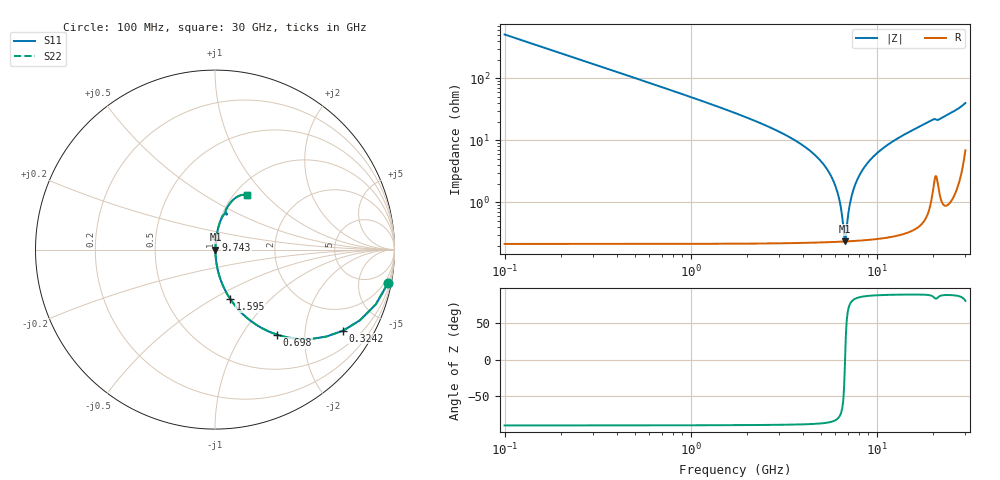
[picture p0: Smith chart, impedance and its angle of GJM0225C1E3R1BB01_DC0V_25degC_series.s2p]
!Murata Part Number: GJM0225C1E3R1BB01
!These Parameters are Measured in Series Mode Connection
!  o--ll--o
!Port1  Port2
!  o------o
!Operation Temp=25[degC], DC Bias Voltage=0[V]
!Freq. Start=100[MHz] Stop=30[GHz], 401[Steps]
!Data Generated on Feb 1, 2023
# Hz S RI R 50
!Freq.(Hz) S11(Real) S11(Imag) S21(Real) S21(Imag) S12(Real) S12(Imag) S22(Real) S22(Imag)
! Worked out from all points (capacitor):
!   401 points, 100 MHz to 30 GHz, reference 50 ohm
!   read as one part in series: C = 3.1 pF near 249.5 MHz
!   lowest |Z| = 235 mohm at 6.753 GHz (marker M1)
!   series resonance near 6.765 GHz, so ESL is about 180 pH
!   S11 on the Smith chart (normalised r, x): 100 MHz: 1, -10; 324.2 MHz: 1.00, -3.16; 698 MHz: 1.00, -1.46; 1.595 GHz: 1.00, -0.61; 9.743 GHz: 1.01, +0.11; 30 GHz: 1.14, +0.79
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1e8  0.9634 -0.1877  0.0366 0.1877  0.0366 0.1877  0.9634 -0.1877
3.2425e8  0.7137 -0.4514  0.2863 0.4514  0.2863 0.4514  0.7137 -0.4514
6.98e8  0.3467 -0.4744  0.6533 0.4744  0.6533 0.4744  0.3467 -0.4744
1.07175e9  0.1802 -0.3821  0.8198 0.3821  0.8198 0.3821  0.1802 -0.3821
1.595e9  0.0862 -0.2772  0.9138 0.2772  0.9138 0.2772  0.0862 -0.2772
2.9405e9  0.0217 -0.1383  0.9783 0.1383  0.9783 0.1383  0.0217 -0.1383
5.10825e9  0.00411 -0.043  0.9959 0.043  0.9959 0.043  0.00411 -0.043
5.6315e9  0.00305 -0.0279  0.9969 0.0279  0.9969 0.0279  0.00305 -0.0279
6.08e9  0.00256 -0.0162  0.9974 0.0162  0.9974 0.0162  0.00256 -0.0162
6.30425e9  0.00242 -0.0107  0.9976 0.0107  0.9976 0.0107  0.00242 -0.0107
6.678e9  0.00233 -0.00196  0.9977 0.00196  0.9977 0.00196  0.00233 -0.00196
6.75275e9  0.00233 -0.000269  0.9977 0.000269  0.9977 0.000269  0.00233 -0.000269
6.90225e9  0.00234 0.00305  0.9977 -0.00305  0.9977 -0.00305  0.00234 0.00305
7.276e9  0.00248 0.0111  0.9975 -0.0111  0.9975 -0.0111  0.00248 0.0111
7.7245e9  0.00279 0.0202  0.9972 -0.0202  0.9972 -0.0202  0.00279 0.0202
8.54675e9  0.00372 0.0358  0.9963 -0.0358  0.9963 -0.0358  0.00372 0.0358
9.74275e9  0.00575 0.0566  0.9943 -0.0566  0.9943 -0.0566  0.00575 0.0566
1.01165e10  0.00652 0.0627  0.9935 -0.0627  0.9935 -0.0627  0.00652 0.0627
1.505e10  0.0219 0.1348  0.9781 -0.1348  0.9781 -0.1348  0.0219 0.1348
2.005825e10  0.0578 0.201  0.9422 -0.201  0.9422 -0.201  0.0578 0.201
2.50665e10  0.0799 0.2533  0.9201 -0.2533  0.9201 -0.2533  0.0799 0.2533
3e10  0.177 0.3039  0.823 -0.3039  0.823 -0.3039  0.177 0.3039
